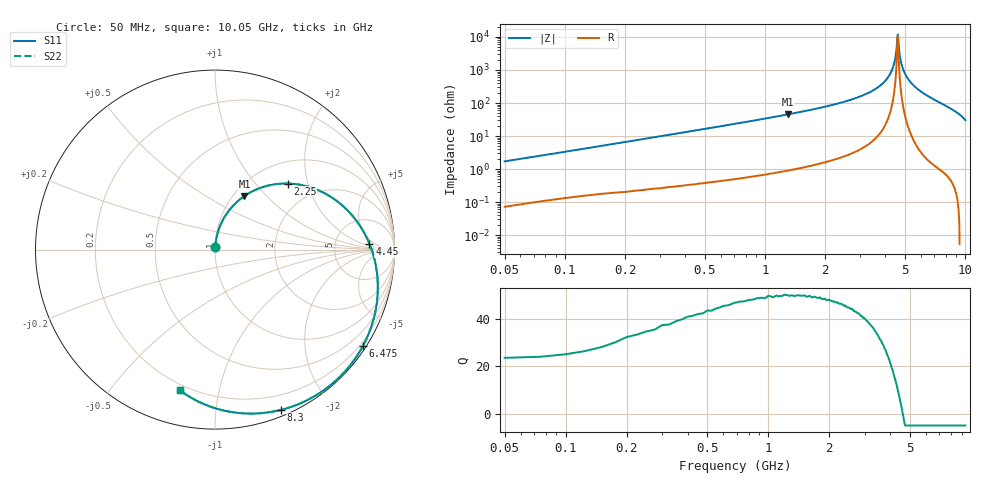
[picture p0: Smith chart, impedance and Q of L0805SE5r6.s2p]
! AVX Thin Film Operation		Date: May 2002
! Description: Accu-L® Series, Thin Film, SMD, RF Inductors
! Part Number: L08055R6CEWTR
! 50 MHz  -  10.05 GHz
! Serial Measurements
# mhz S db R 50
!	S11		S21		S12		S22
!	dB	Phase	dB	Phase	dB	Phase	dB	Phase
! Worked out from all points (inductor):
!   401 points, 50 MHz to 10.05 GHz, reference 50 ohm
!   read as 1/Y11, port 2 shorted: L = 5.27 nH near 100 MHz
!   highest Q = 50.1 at 1.3 GHz (marker M1), where L = 5.52 nH
!   self-resonance near 4.6 GHz
!   S11 on the Smith chart (normalised r, x): 50 MHz: 1.00, +0.03; 2.25 GHz: 1.43, +1.50; 4.45 GHz: 13, +3; 6.475 GHz: 0.10, -3.35; 8.3 GHz: 0.06, -1.49; 10.05 GHz: 0.17, -0.77
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50  -36.64 85.9  -0.01 -1.1  -0.01 -1.1  -36.64 85.9
200  -25.03 83.6  -0.03 -4.3  -0.03 -4.3  -25.03 83.6
425  -18.63 79.2  -0.09 -9.1  -0.09 -9.1  -18.63 79.2
775  -13.58 72.0  -0.23 -16.4  -0.23 -16.4  -13.58 72.0
1300  -9.35 61.2  -0.59 -27.1  -0.59 -27.1  -9.35 61.2
1725  -7.16 52.6  -0.99 -35.6  -0.99 -35.6  -7.16 52.6
2250  -5.23 42.3  -1.63 -45.7  -1.63 -45.7  -5.23 42.3
3400  -2.63 20.7  -3.56 -66.7  -3.56 -66.7  -2.63 20.7
4450  -1.30 2.1  -6.11 -84.7  -6.11 -84.7  -1.30 2.1
5050  -0.80 -8.3  -8.10 -94.7  -8.10 -94.7  -0.80 -8.3
5900  -0.33 -23.0  -12.27 -108.5  -12.27 -108.5  -0.33 -23.0
6475  -0.14 -33.2  -17.25 -117.4  -17.25 -117.4  -0.14 -33.2
6725  -0.10 -37.7  -20.93 -120.4  -20.93 -120.4  -0.10 -37.7
6975  -0.07 -42.3  -27.59 -120.2  -27.59 -120.2  -0.07 -42.3
7150  -0.06 -45.5  -38.20 -64.4  -38.20 -64.4  -0.06 -45.5
7200  -0.06 -46.4  -43.47 -17.5  -43.47 -17.5  -0.06 -46.4
7375  -0.07 -49.7  -28.36 34.1  -28.36 34.1  -0.07 -49.7
7550  -0.09 -53.0  -22.73 35.8  -22.73 35.8  -0.09 -53.0
7850  -0.15 -58.7  -17.46 32.4  -17.46 32.4  -0.15 -58.7
8300  -0.30 -67.6  -12.90 24.7  -12.90 24.7  -0.30 -67.6
8400  -0.35 -69.6  -12.14 22.8  -12.14 22.8  -0.35 -69.6
10050  -1.84 -103.9  -4.87 -10.9  -4.87 -10.9  -1.84 -103.9
